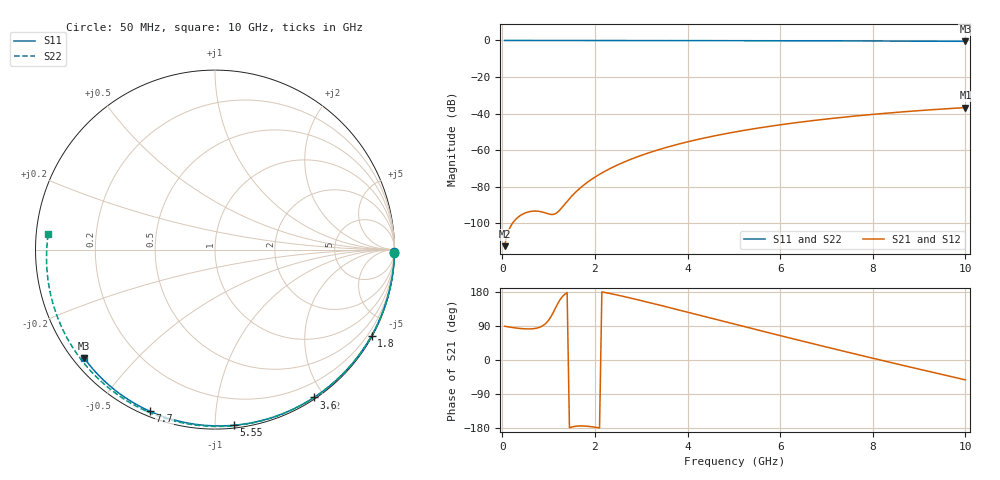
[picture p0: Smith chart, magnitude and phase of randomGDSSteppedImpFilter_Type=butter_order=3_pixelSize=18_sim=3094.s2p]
! freq	dB(S11)	phase(S11)	dB(S12)	phase(S12)
!  dB(S21)	phase(S21)	dB(S22)	phase(S22)
!S-par simulation data
#  GHz  S  DB  R 50
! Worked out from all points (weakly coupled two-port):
!   200 points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, 50 MHz to 10 GHz, reference 50 ohm
!   highest |S21| = -36.72 dB at 10 GHz (marker M1); lowest = -112.5 dB at 50 MHz (marker M2)
!   lowest |S11| = -0.5 dB at 10 GHz (marker M3), VSWR 36.63, Z = 1.54 - j18 ohm
!   |S11| at or under -10 dB: nowhere
!   |S22| runs from -0.6 to 0.0 dB; largest |S21 - S12| = 0
!   S11 on the Smith chart (normalised r, x): 50 MHz: open; 1.8 GHz: 0.03, -3.90; 3.6 GHz: 0.02, -1.87; 5.55 GHz: 0.02, -1.11; 7.7 GHz: 0.02, -0.68; 10 GHz: 0.03, -0.36
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0.05  -0.00 -0.8  -112.49 89.0  -112.49 89.0  -0.00 -1.1
0.45  -0.01 -7.3  -94.84 82.5  -94.84 82.5  -0.01 -9.6
0.85  -0.02 -13.7  -93.72 88.8  -93.72 88.8  -0.02 -18.0
1.25  -0.03 -20.1  -92.51 159.7  -92.51 159.7  -0.03 -26.4
1.7  -0.03 -27.2  -80.30 -174.0  -80.30 -174.0  -0.05 -35.6
1.75  -0.04 -28.0  -79.26 -174.1  -79.26 -174.1  -0.05 -36.7
1.8  -0.04 -28.8  -78.27 -174.5  -78.27 -174.5  -0.05 -37.7
2.1  -0.04 -33.5  -73.19 -179.2  -73.19 -179.2  -0.06 -43.8
2.3  -0.05 -36.6  -70.40 176.2  -70.40 176.2  -0.06 -47.8
2.5  -0.05 -39.6  -67.95 171.0  -67.95 171.0  -0.07 -51.7
2.9  -0.06 -45.7  -63.78 159.7  -63.78 159.7  -0.08 -59.6
3.4  -0.07 -53.2  -59.55 144.7  -59.55 144.7  -0.09 -69.2
3.6  -0.08 -56.2  -58.08 138.6  -58.08 138.6  -0.10 -73.0
4.3  -0.09 -66.4  -53.68 116.9  -53.68 116.9  -0.12 -86.0
5.05  -0.12 -76.9  -49.92 93.6  -49.92 93.6  -0.15 -99.4
5.55  -0.14 -83.8  -47.81 78.2  -47.81 78.2  -0.18 -108.2
6.1  -0.16 -91.2  -45.78 61.3  -45.78 61.3  -0.21 -117.6
6.7  -0.19 -99.1  -43.84 43.2  -43.84 43.2  -0.25 -127.8
7.7  -0.26 -111.9  -41.13 13.5  -41.13 13.5  -0.33 -144.7
8.35  -0.31 -120.0  -39.65 -5.5  -39.65 -5.5  -0.39 -155.8
9.2  -0.39 -130.5  -38.01 -29.9  -38.01 -29.9  -0.49 -170.6
10  -0.47 -140.3  -36.72 -52.4  -36.72 -52.4  -0.60 174.8
